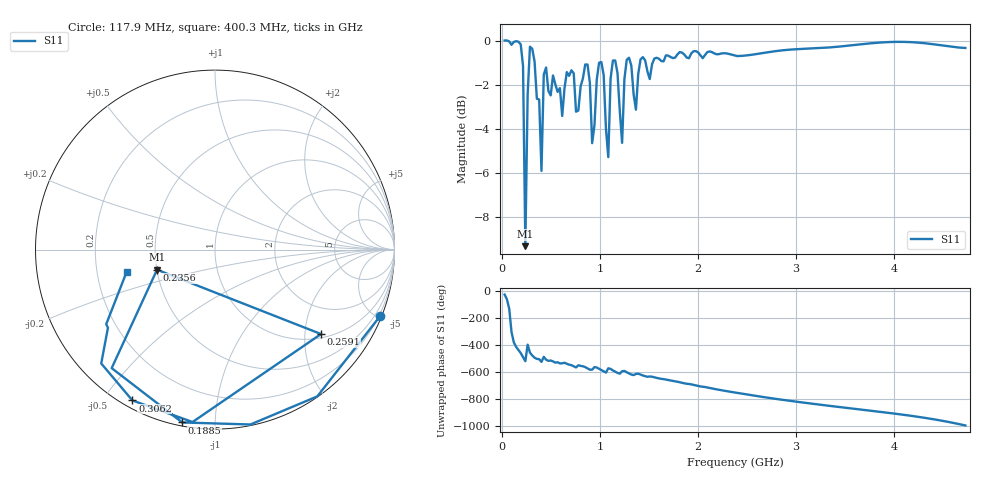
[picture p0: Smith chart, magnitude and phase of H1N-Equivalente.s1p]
!Keysight Technologies N9923A: A.08.19
!Date: Thursday, 16 January 2020 11:30:00
!TimeZone: (GMT-03:00) Brasilia!Model: N9923A
!Serial: MY51491501
!GPS Latitude:
!GPS Longitude:
!GPS TimeStamp: 0001-01-01 00:00:00Z
!GPS Seconds Since Last Read: 0
!CHECKSUM:1078980270
!Correction: S11(ON U)
!S1P File: Measurement: S11:
# Hz S DB R 50
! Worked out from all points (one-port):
!   201 points, 23.74 MHz to 4.731 GHz, reference 50 ohm
!   lowest |S11| = -9.3 dB at 235.6 MHz (marker M1), VSWR 2.04, Z = 25 - j6.36 ohm
!   |S11| at or under -10 dB: nowhere
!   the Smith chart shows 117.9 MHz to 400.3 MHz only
!   S11 on the Smith chart (normalised r, x): 117.9 MHz: 0.10, -5.20; 188.5 MHz: 0.02, -0.83; 235.6 MHz: 0.50, -0.13; 259.1 MHz: 1.10, -2.42; 306.2 MHz: 0.03, -0.59; 400.3 MHz: 0.33, -0.11
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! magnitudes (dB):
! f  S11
! 23.74 MHz  0.0
! 117.9 MHz  -0.1
! 188.5 MHz  -0.2
! 212 MHz  -1.1
! 235.6 MHz  -9.3
! 259.1 MHz  -2.4
! 306.2 MHz  -0.4
! 376.8 MHz  -2.7
! 400.3 MHz  -5.9
! 423.9 MHz  -1.5
! 447.4 MHz  -1.2
! 612.1 MHz  -3.4
! 871 MHz  -1.1
! 918.1 MHz  -4.6
! 1.012 GHz  -1.0
! 1.083 GHz  -5.3
! 1.13 GHz  -0.9
! 1.201 GHz  -3.2
! 1.224 GHz  -4.6
! 1.271 GHz  -0.9
! 1.365 GHz  -3.1
! 1.412 GHz  -0.9
! 1.789 GHz  -0.6
! 2.377 GHz  -0.7
! 2.966 GHz  -0.4
! 3.554 GHz  -0.2
! 4.143 GHz  -0.1
! 4.731 GHz  -0.3
